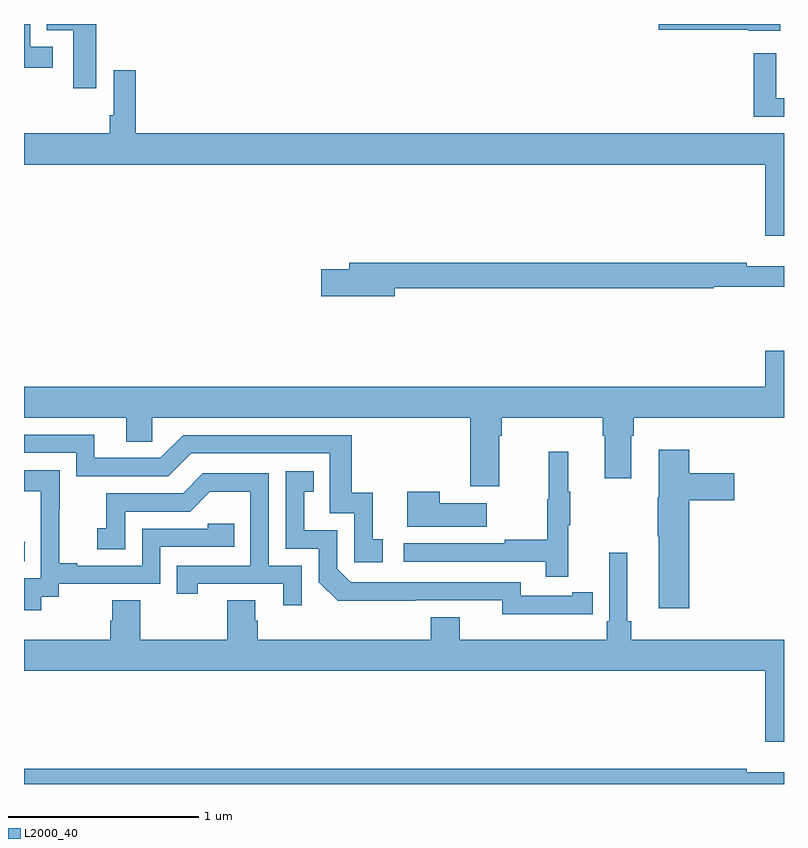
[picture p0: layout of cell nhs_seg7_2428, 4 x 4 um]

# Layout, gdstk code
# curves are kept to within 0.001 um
import gdstk
lib = gdstk.Library(unit=1e-6, precision=1e-09)
def R(c, l, rs):  # rectangles x0, y0, x1, y1
    for r in rs: c.add(gdstk.rectangle(r[:2], r[2:], *l))
def P(c, l, *ps):  # polygons
    for p in ps: c.add(gdstk.Polygon(p, *l))
L2000_40 = (2000, 40)

nhs_seg7_2428 = lib.new_cell('nhs_seg7_2428')
R(nhs_seg7_2428, L2000_40, [(269,1021.173,269.003,1021.274)])
P(nhs_seg7_2428, L2000_40, [(269.38,1024),(269.119,1024),(269.119,1023.968),(269.258,1023.968),(269.258,1023.663),(269.38,1023.663)],
  [(269.152,1023.879),(269.034,1023.879),(269.034,1024),(269,1024),(269,1023.771),(269.152,1023.771)],
  [(272.98,1024),(272.34,1024),(272.34,1023.971),(272.814,1023.971),(272.814,1023.965),(272.98,1023.965)],
  [(273,1023.609),(272.958,1023.609),(272.958,1023.847),(272.842,1023.847),(272.842,1023.513),(273,1023.513)],
  [(273,1023.424),(269.588,1023.424),(269.588,1023.757),(269.472,1023.757),(269.472,1023.52),(269.452,1023.52),(269.452,1023.424),(269,1023.424),(269,1023.26),(272.9,1023.26),(272.9,1022.886),(273,1022.886)],
  [(270.952,1022.608),(272.629,1022.608),(272.629,1022.616),(273,1022.616),(273,1022.725),(272.804,1022.725),(272.804,1022.744),(270.713,1022.744),(270.713,1022.708),(270.564,1022.708),(270.564,1022.566),(270.952,1022.566)],
  [(271.501,1021.832),(271.514,1021.832),(271.514,1021.928),(272.045,1021.928),(272.045,1021.832),(272.057,1021.832),(272.057,1021.608),(272.197,1021.608),(272.197,1021.832),(272.21,1021.832),(272.21,1021.928),(273,1021.928),(273,1022.281),(272.9,1022.281),(272.9,1022.092),(269,1022.092),(269,1021.928),(269.537,1021.928),(269.537,1021.801),(269.676,1021.801),(269.676,1021.928),(271.349,1021.928),(271.349,1021.566),(271.501,1021.566)],
  [(270.889,1021.287),(270.836,1021.287),(270.836,1021.534),(270.725,1021.534),(270.725,1021.836),(269.838,1021.836),(269.718,1021.716),(269.371,1021.716),(269.371,1021.839),(269,1021.839),(269,1021.743),(269.274,1021.743),(269.274,1021.62),(269.76,1021.62),(269.88,1021.74),(270.609,1021.74),(270.609,1021.425),(270.738,1021.425),(270.738,1021.167),(270.889,1021.167)],
  [(272.501,1021.493),(272.737,1021.493),(272.737,1021.635),(272.501,1021.635),(272.501,1021.759),(272.342,1021.759),(272.342,1021.509),(272.335,1021.509),(272.335,1021.303),(272.342,1021.303),(272.342,1020.924),(272.501,1020.924)],
  [(271.865,1021.363),(271.876,1021.363),(271.876,1021.537),(271.865,1021.537),(271.865,1021.75),(271.762,1021.75),(271.762,1021.5),(271.755,1021.5),(271.755,1021.286),(271.531,1021.286),(271.531,1021.266),(270.999,1021.266),(270.999,1021.17),(271.747,1021.17),(271.747,1021.092),(271.865,1021.092)],
  [(269.092,1020.985),(269.184,1020.985),(269.184,1021.053),(269.718,1021.053),(269.718,1021.248),(270.107,1021.248),(270.107,1021.371),(269.967,1021.371),(269.967,1021.344),(269.622,1021.344),(269.622,1021.149),(269.281,1021.149),(269.281,1021.162),(269.186,1021.162),(269.186,1021.445),(269.187,1021.445),(269.187,1021.651),(269,1021.651),(269,1021.541),(269.087,1021.541),(269.087,1021.313),(269.088,1021.313),(269.088,1021.083),(269,1021.083),(269,1020.915),(269.092,1020.915)],
  [(271.886,1020.894),(271.994,1020.894),(271.994,1021.01),(271.886,1021.01),(271.886,1020.99),(271.614,1020.99),(271.614,1021.062),(270.72,1021.062),(270.648,1021.134),(270.648,1021.335),(270.475,1021.335),(270.475,1021.539),(270.524,1021.539),(270.524,1021.645),(270.378,1021.645),(270.378,1021.239),(270.552,1021.239),(270.552,1021.062),(270.65,1020.965),(271.518,1020.966),(271.518,1020.893)],
  [(270.462,1021.149),(270.288,1021.149),(270.288,1021.635),(269.942,1021.635),(269.837,1021.53),(269.434,1021.53),(269.434,1021.345),(269.385,1021.345),(269.385,1021.236),(269.532,1021.236),(269.532,1021.434),(269.874,1021.434),(269.978,1021.538),(270.192,1021.538),(270.192,1021.149),(269.803,1021.149),(269.803,1021.002),(269.914,1021.002),(269.914,1021.053),(270.365,1021.053),(270.365,1020.942),(270.462,1020.942)],
  [(271.435,1021.477),(271.187,1021.477),(271.187,1021.537),(271.016,1021.537),(271.016,1021.355),(271.435,1021.355)],
  [(273,1020.76),(272.195,1020.76),(272.195,1020.856),(272.176,1020.856),(272.176,1021.216),(272.079,1021.216),(272.079,1020.856),(272.066,1020.856),(272.066,1020.76),(271.294,1020.76),(271.294,1020.877),(271.142,1020.877),(271.142,1020.76),(270.23,1020.76),(270.23,1020.858),(270.217,1020.858),(270.217,1020.968),(270.07,1020.968),(270.07,1020.76),(269.613,1020.76),(269.613,1020.968),(269.465,1020.968),(269.465,1020.858),(269.453,1020.858),(269.453,1020.76),(269,1020.76),(269,1020.596),(272.9,1020.596),(272.9,1020.222),(273,1020.222)],
  [(273,1020.061),(272.804,1020.061),(272.804,1020.08),(269,1020.08),(269,1020),(273,1020)])

lib.write_gds('nhs_seg7_2428.gds')
